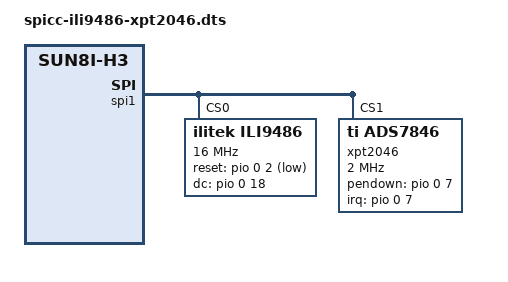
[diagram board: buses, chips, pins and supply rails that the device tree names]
/dts-v1/;
/plugin/;

/ {
    compatible = "allwinner,sun8i-h3";

        fragment@0 {
                target = <&spi1>;
                __overlay__ {
                        status = "okay";
                };
        };

        fragment@1 {
                target = <&spi1>;
                __overlay__ {
                        /* needed to avoid dtc warning */
                        #address-cells = <1>;
                        #size-cells = <0>;

                        ili9486: ili9486@0 {
                                compatible = "ilitek,ili9486";
                                reg = <0>;

                                spi-max-frequency = <16000000>;
                                rotate = <90>;
                                fps = <30>;
                                buswidth = <8>;
                                regwidth = <16>;
                                bgr = <0>;
                                reset-gpios = <&pio 0 2 1>; /* PA2 */
                                dc-gpios = <&pio 0 18 0>; /* PA18 */
                                //debug = <0>;

                                init = <0x10000b0 0x00
                                        0x1000011
                                        0x20000ff
                                        0x100003a 0x55
                                        0x1000036 0x28
                                        0x10000c2 0x44
                                        0x10000c5 0x00 0x00 0x00 0x00
                                        0x10000e0 0x0f 0x1f 0x1c 0x0c 0x0f 0x08 0x48 0x98 0x37 0x0a 0x13 0x04 0x11 0x0d 0x00
                                        0x10000e1 0x0f 0x32 0x2e 0x0b 0x0d 0x05 0x47 0x75 0x37 0x06 0x10 0x03 0x24 0x20 0x00
                                        0x10000e2 0x0f 0x32 0x2e 0x0b 0x0d 0x05 0x47 0x75 0x37 0x06 0x10 0x03 0x24 0x20 0x00
                                        0x1000036 0x28
                                        0x1000011
                                        0x1000029>;
                        };
                        xpt2046: xpt2046@1 {
                                compatible = "ti,ads7846";
                                reg = <1>;

                                spi-max-frequency = <2000000>;
                                interrupts = <0 7 2>; /* high-to-low edge triggered */
                                interrupt-parent = <&pio>;
                                pendown-gpio = <&pio 0 7 0>;
                                ti,keep-vref-on = <1>;
                                ti,x-min = /bits/ 16 <200>;
                                ti,x-max = /bits/ 16 <3900>;
                                ti,y-min = /bits/ 16 <200>;
                                ti,y-max = /bits/ 16 <3900>;
                                ti,x-plate-ohms = /bits/ 16 <60>;
                                ti,pressure-max = /bits/ 16 <255>;
                                ti,swap-xy = <1>;


                        };
                };
        };
};
